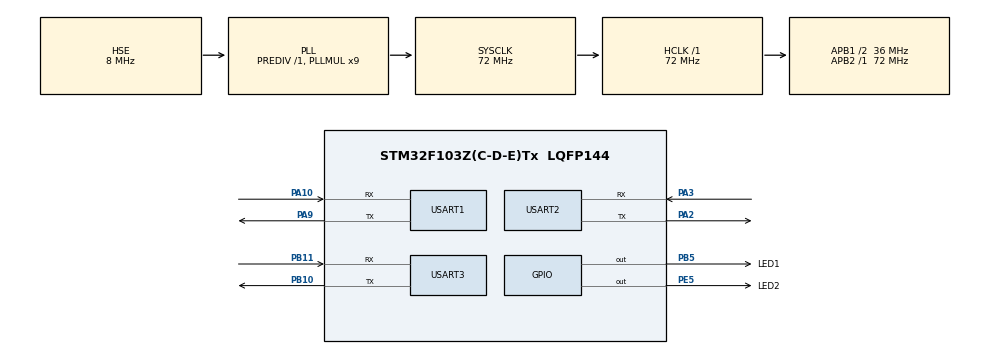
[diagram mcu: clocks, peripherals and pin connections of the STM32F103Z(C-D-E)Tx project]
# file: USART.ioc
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FREERTOS.Tasks01=Init_Task,2,128,Init_Function,Default,NULL,Dynamic,NULL,NULL;LED_Task,-3,128,LED_Function,Default,NULL,Dynamic,NULL,NULL
Mcu.Family=STM32F1
Mcu.Name=STM32F103Z(C-D-E)Tx
Mcu.Package=LQFP144
NVIC.PriorityGroup=NVIC_PRIORITYGROUP_4
NVIC.TIM1_UP_IRQn=true\:15\:0\:false\:false\:true\:false\:false\:true
NVIC.TimeBase=TIM1_UP_IRQn
NVIC.TimeBaseIP=TIM1
NVIC.USART1_IRQn=true\:5\:0\:false\:false\:true\:true\:true\:true
NVIC.USART2_IRQn=true\:5\:0\:false\:false\:true\:true\:true\:true
NVIC.USART3_IRQn=true\:5\:0\:false\:false\:true\:true\:true\:true
OSC_IN.Mode=HSE-External-Oscillator
OSC_IN.Signal=RCC_OSC_IN
OSC_OUT.Mode=HSE-External-Oscillator
OSC_OUT.Signal=RCC_OSC_OUT
PA10.Mode=Asynchronous
PA10.Signal=USART1_RX
PA13.Mode=Serial_Wire
PA13.Signal=SYS_JTMS-SWDIO
PA14.Mode=Serial_Wire
PA14.Signal=SYS_JTCK-SWCLK
PA2.Mode=Asynchronous
PA2.Signal=USART2_TX
PA3.Mode=Asynchronous
PA3.Signal=USART2_RX
PA9.Mode=Asynchronous
PA9.Signal=USART1_TX
PB10.Mode=Asynchronous
PB10.Signal=USART3_TX
PB11.Mode=Asynchronous
PB11.Signal=USART3_RX
PB5.GPIO_Label=LED1
PB5.Signal=GPIO_Output
PE5.GPIO_Label=LED2
PE5.Signal=GPIO_Output
ProjectManager.HeapSize=0x200
ProjectManager.StackSize=0x400
ProjectManager.TargetToolchain=MDK-ARM V5.32
RCC.AHBFreq_Value=72000000
RCC.APB1CLKDivider=RCC_HCLK_DIV2
RCC.APB1Freq_Value=36000000
RCC.APB1TimFreq_Value=72000000
RCC.APB2Freq_Value=72000000
RCC.APB2TimFreq_Value=72000000
RCC.HCLKFreq_Value=72000000
RCC.PLLMUL=RCC_PLL_MUL9
RCC.PLLSourceVirtual=RCC_PLLSOURCE_HSE
RCC.SYSCLKFreq_VALUE=72000000
RCC.SYSCLKSource=RCC_SYSCLKSOURCE_PLLCLK
RCC.USBFreq_Value=72000000
USART1.VirtualMode=VM_ASYNC
USART2.VirtualMode=VM_ASYNC
USART3.VirtualMode=VM_ASYNC
VP_FREERTOS_VS_CMSIS_V1.Mode=CMSIS_V1
VP_SYS_VS_tim1.Mode=TIM1
board=custom

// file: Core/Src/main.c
/* USER CODE BEGIN Header */
/**
  ******************************************************************************
  * @file           : main.c
  * @brief          : Main program body
  ******************************************************************************
  * @attention
  *
  * Copyright (c) 2023 STMicroelectronics.
  * All rights reserved.
  *
  * This software is licensed under terms that can be found in the LICENSE file
  * in the root directory of this software component.
  * If no LICENSE file comes with this software, it is provided AS-IS.
  *
  ******************************************************************************
  */
/* USER CODE END Header */
#include "main.h"
#include "cmsis_os.h"
#include "usart.h"
#include "gpio.h"

void SystemClock_Config(void);
void MX_FREERTOS_Init(void);

int main(void)
{

  /* MCU Configuration--------------------------------------------------------*/

  /* Reset of all peripherals, Initializes the Flash interface and the Systick. */
  HAL_Init();

  /* Configure the system clock */
  SystemClock_Config();

  /* Initialize all configured peripherals */
  MX_GPIO_Init();
  MX_USART1_UART_Init();
  MX_USART2_UART_Init();
  MX_USART3_UART_Init();

  /* Call init function for freertos objects (in freertos.c) */
  MX_FREERTOS_Init();
  /* Start scheduler */
  osKernelStart();

  /* We should never get here as control is now taken by the scheduler */
  /* Infinite loop */
  while (1)
  {

  }
}

void SystemClock_Config(void)
{
  RCC_OscInitTypeDef RCC_OscInitStruct = {0};
  RCC_ClkInitTypeDef RCC_ClkInitStruct = {0};

  /** Initializes the RCC Oscillators according to the specified parameters
  * in the RCC_OscInitTypeDef structure.
  */
  RCC_OscInitStruct.OscillatorType = RCC_OSCILLATORTYPE_HSE;
  RCC_OscInitStruct.HSEState = RCC_HSE_ON;
  RCC_OscInitStruct.HSEPredivValue = RCC_HSE_PREDIV_DIV1;
  RCC_OscInitStruct.HSIState = RCC_HSI_ON;
  RCC_OscInitStruct.PLL.PLLState = RCC_PLL_ON;
  RCC_OscInitStruct.PLL.PLLSource = RCC_PLLSOURCE_HSE;
  RCC_OscInitStruct.PLL.PLLMUL = RCC_PLL_MUL9;
  if (HAL_RCC_OscConfig(&RCC_OscInitStruct) != HAL_OK)
  {
    Error_Handler();
  }
  /** Initializes the CPU, AHB and APB buses clocks
  */
  RCC_ClkInitStruct.ClockType = RCC_CLOCKTYPE_HCLK|RCC_CLOCKTYPE_SYSCLK
                              |RCC_CLOCKTYPE_PCLK1|RCC_CLOCKTYPE_PCLK2;
  RCC_ClkInitStruct.SYSCLKSource = RCC_SYSCLKSOURCE_PLLCLK;
  RCC_ClkInitStruct.AHBCLKDivider = RCC_SYSCLK_DIV1;
  RCC_ClkInitStruct.APB1CLKDivider = RCC_HCLK_DIV2;
  RCC_ClkInitStruct.APB2CLKDivider = RCC_HCLK_DIV1;

  if (HAL_RCC_ClockConfig(&RCC_ClkInitStruct, FLASH_LATENCY_2) != HAL_OK)
  {
    Error_Handler();
  }
}

void HAL_TIM_PeriodElapsedCallback(TIM_HandleTypeDef *htim)
{
  if (htim->Instance == TIM1) {
    HAL_IncTick();
  }
}

void Error_Handler(void)
{
  __disable_irq();
  while (1)
  {
  }
}

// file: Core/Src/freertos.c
/* USER CODE BEGIN Header */
/**
  ******************************************************************************
  * File Name          : freertos.c
  * Description        : Code for freertos applications
  ******************************************************************************
  * @attention
  *
  * Copyright (c) 2023 STMicroelectronics.
  * All rights reserved.
  *
  * This software is licensed under terms that can be found in the LICENSE file
  * in the root directory of this software component.
  * If no LICENSE file comes with this software, it is provided AS-IS.
  *
  ******************************************************************************
  */
/* USER CODE END Header */

#include "FreeRTOS.h"
#include "task.h"
#include "main.h"
#include "cmsis_os.h"

osThreadId Init_TaskHandle;
osThreadId LED_TaskHandle;

void Init_Function(void const * argument);
void LED_Function(void const * argument);

void MX_FREERTOS_Init(void); /* (MISRA C 2004 rule 8.1) */

/* GetIdleTaskMemory prototype (linked to static allocation support) */
void vApplicationGetIdleTaskMemory( StaticTask_t **ppxIdleTaskTCBBuffer, StackType_t **ppxIdleTaskStackBuffer, uint32_t *pulIdleTaskStackSize );

/* USER CODE BEGIN GET_IDLE_TASK_MEMORY */
static StaticTask_t xIdleTaskTCBBuffer;
static StackType_t xIdleStack[configMINIMAL_STACK_SIZE];

void vApplicationGetIdleTaskMemory( StaticTask_t **ppxIdleTaskTCBBuffer, StackType_t **ppxIdleTaskStackBuffer, uint32_t *pulIdleTaskStackSize )
{
  *ppxIdleTaskTCBBuffer = &xIdleTaskTCBBuffer;
  *ppxIdleTaskStackBuffer = &xIdleStack[0];
  *pulIdleTaskStackSize = configMINIMAL_STACK_SIZE;
  /* place for user code */
}
/* USER CODE END GET_IDLE_TASK_MEMORY */

void MX_FREERTOS_Init(void) {

  /* Create the thread(s) */
  /* definition and creation of Init_Task */
  osThreadDef(Init_Task, Init_Function, osPriorityHigh, 0, 128);
  Init_TaskHandle = osThreadCreate(osThread(Init_Task), NULL);

  /* definition and creation of LED_Task */
  osThreadDef(LED_Task, LED_Function, osPriorityIdle, 0, 128);
  LED_TaskHandle = osThreadCreate(osThread(LED_Task), NULL);

}

void Init_Function(void const * argument)
{
  /* USER CODE BEGIN Init_Function */
  /* Infinite loop */
  for(;;)
  {
		taskENTER_CRITICAL(); //进入临界区
		HAL_UART_Receive_IT(&huart1, (uint8_t *)&aRxBuffer, 1);   //再开启接收中断

		vTaskDelete(NULL);
		taskEXIT_CRITICAL();            //退出临界区
  }
  /* USER CODE END Init_Function */
}

void LED_Function(void const * argument)
{
  /* USER CODE BEGIN LED_Function */
  /* Infinite loop */
  for(;;)
  {
		if(led_flag==1)
		{
			LED1_ON();
			HAL_Delay(500);
			LED1_OFF();
			HAL_Delay(500);
			my_printf(1,"led1\r\n");
		}
		else if(led_flag==2)
		{
			LED2_ON();
			HAL_Delay(500);
			LED2_OFF();
			HAL_Delay(500);
			my_printf(1,"led2\r\n");
		}
    osDelay(1);
  }
  /* USER CODE END LED_Function */
}
